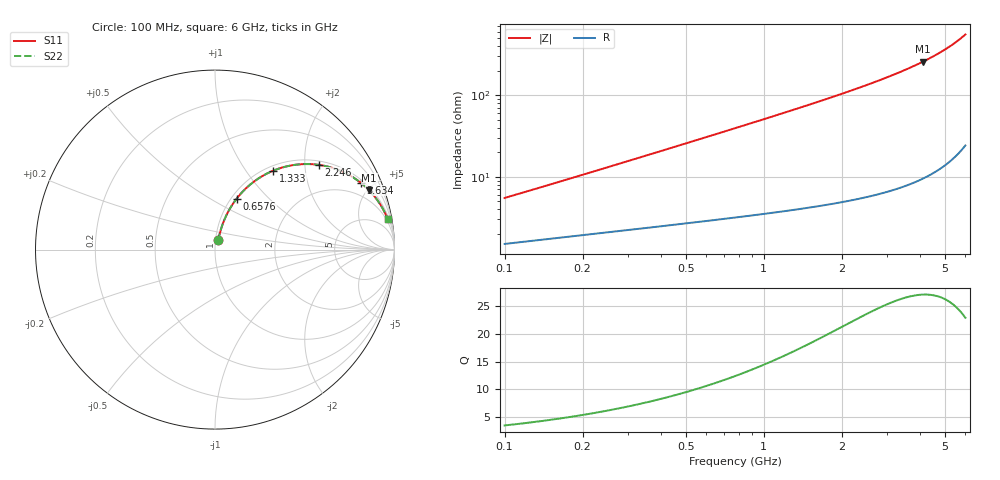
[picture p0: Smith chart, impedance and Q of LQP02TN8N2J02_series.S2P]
!Murata Part Number: LQP02TN8N2J02
!These Parameters are Measured in Series Mode Connection
!  o--[+]--o
!Port1  Port2
!  o-------o
!Freq. Start=100[MHz] Stop=6[GHz], 401[Steps]
# Hz S RI R 50
!Freq.(Hz)	S 11(Real)	S 11(Imag)	S 21(Real)	S 21(Imag)	S 12(Real)	S 12(Imag)	S 22(Real)	S 22(Imag)
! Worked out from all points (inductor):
!   401 points, 100 MHz to 6 GHz, reference 50 ohm
!   read as one part in series: L = 8.37 nH near 102.1 MHz
!   highest Q = 27 at 4.108 GHz (marker M1), where L = 9.92 nH
!   S11 on the Smith chart (normalised r, x): 100 MHz: 1.03, +0.11; 657.6 MHz: 1.06, +0.67; 1.333 GHz: 1.08, +1.35; 2.246 GHz: 1.10, +2.36; 3.634 GHz: 1.16, +4.27; 6 GHz: 1, +11
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1e8  0.0175 0.0512  0.9825 -0.0512  0.9825 -0.0512  0.0175 0.0512
1.387561e8  0.0216 0.07  0.9784 -0.07  0.9784 -0.07  0.0216 0.07
1.829268e8  0.0268 0.0911  0.9732 -0.0911  0.9732 -0.0911  0.0268 0.0911
2.362717e8  0.0339 0.1158  0.9661 -0.1158  0.9661 -0.1158  0.0339 0.1158
2.989892e8  0.0435 0.144  0.9565 -0.144  0.9565 -0.144  0.0435 0.144
3.706879e8  0.056 0.1751  0.944 -0.1751  0.944 -0.1751  0.056 0.1751
4.549e8  0.0727 0.2098  0.9273 -0.2098  0.9273 -0.2098  0.0727 0.2098
5.525584e8  0.0947 0.2474  0.9053 -0.2474  0.9053 -0.2474  0.0947 0.2474
6.575815e8  0.121 0.2845  0.879 -0.2845  0.879 -0.2845  0.121 0.2845
8.580832e8  0.1771 0.3456  0.8229 -0.3456  0.8229 -0.3456  0.1771 0.3456
1.085858e9  0.2465 0.3992  0.7535 -0.3992  0.7535 -0.3992  0.2465 0.3992
1.332541e9  0.3239 0.4395  0.6761 -0.4395  0.6761 -0.4395  0.3239 0.4395
1.686259e9  0.431 0.4701  0.569 -0.4701  0.569 -0.4701  0.431 0.4701
2.06934e9  0.5352 0.4761  0.4648 -0.4761  0.4648 -0.4761  0.5352 0.4761
2.245923e9  0.5781 0.4721  0.4219 -0.4721  0.4219 -0.4721  0.5781 0.4721
2.645581e9  0.6631 0.4524  0.3369 -0.4524  0.3369 -0.4524  0.6631 0.4524
3.053207e9  0.7338 0.4228  0.2662 -0.4228  0.2662 -0.4228  0.7338 0.4228
3.633521e9  0.8113 0.373  0.1887 -0.373  0.1887 -0.373  0.8113 0.373
4.066557e9  0.855 0.334  0.145 -0.334  0.145 -0.334  0.855 0.334
4.108396e9  0.8587 0.3303  0.1413 -0.3303  0.1413 -0.3303  0.8587 0.3303
5.041733e9  0.9227 0.2487  0.0773 -0.2487  0.0773 -0.2487  0.9227 0.2487
6e9  0.9613 0.1722  0.0387 -0.1722  0.0387 -0.1722  0.9613 0.1722
